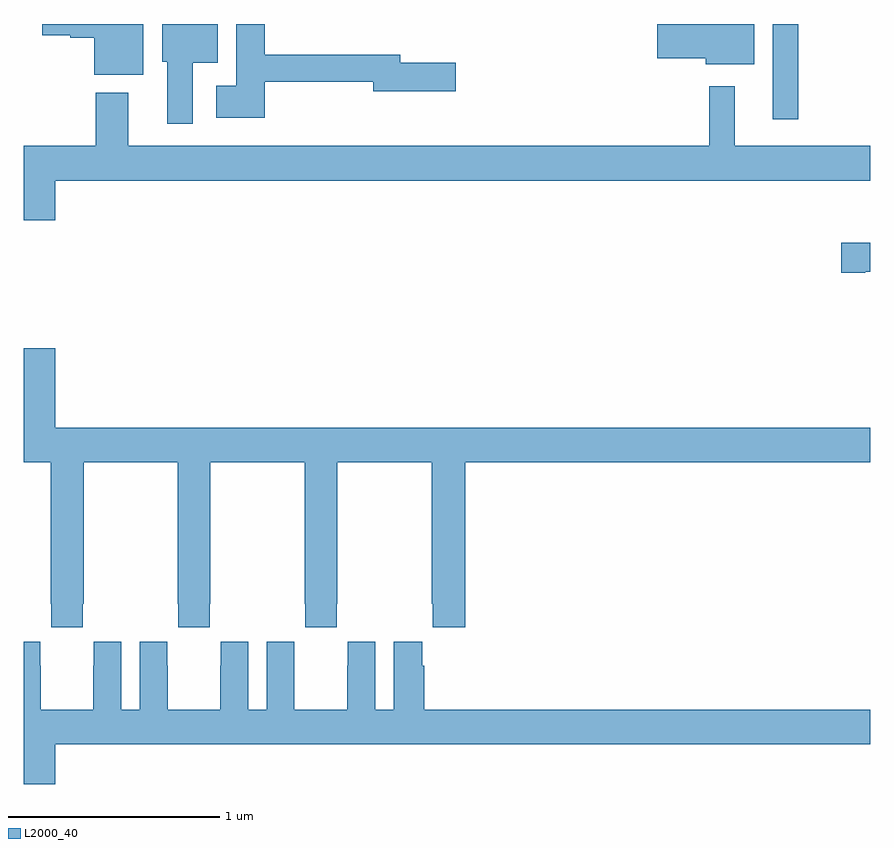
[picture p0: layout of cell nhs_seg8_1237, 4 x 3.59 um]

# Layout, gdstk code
import gdstk
lib = gdstk.Library(unit=1e-6, precision=1e-09)
def R(c, l, rs):  # rectangles x0, y0, x1, y1
    for r in rs: c.add(gdstk.rectangle(r[:2], r[2:], *l))
def P(c, l, *ps):  # polygons
    for p in ps: c.add(gdstk.Polygon(p, *l))
L2000_40 = (2000, 40)

nhs_seg8_1237 = lib.new_cell('nhs_seg8_1237')
R(nhs_seg8_1237, L2000_40, [(192.539,1123.449,192.661,1123.9)])
P(nhs_seg8_1237, L2000_40, [(192.451,1123.9),(191.994,1123.9),(191.994,1123.738),(192.224,1123.738),(192.224,1123.709),(192.451,1123.709)],
  [(190.139,1123.626),(190.652,1123.626),(190.652,1123.583),(191.041,1123.583),(191.041,1123.718),(190.78,1123.718),(190.78,1123.754),(190.139,1123.754),(190.139,1123.9),(190.004,1123.9),(190.004,1123.609),(189.909,1123.609),(189.909,1123.457),(190.139,1123.457)],
  [(189.799,1123.718),(189.916,1123.718),(189.916,1123.9),(189.653,1123.9),(189.653,1123.722),(189.677,1123.722),(189.677,1123.428),(189.799,1123.428)],
  [(189.565,1123.9),(189.086,1123.9),(189.086,1123.847),(189.219,1123.847),(189.219,1123.835),(189.332,1123.835),(189.332,1123.661),(189.565,1123.661)],
  [(189.148,1123.16),(193,1123.16),(193,1123.324),(192.361,1123.324),(192.361,1123.606),(192.24,1123.606),(192.24,1123.324),(189.493,1123.324),(189.493,1123.576),(189.341,1123.576),(189.341,1123.324),(189,1123.324),(189,1122.972),(189.148,1122.972)],
  [(192.976,1122.73),(193,1122.73),(193,1122.867),(192.864,1122.867),(192.864,1122.725),(192.976,1122.725)],
  [(189.279,1121.161),(189.282,1121.161),(189.282,1121.828),(189.727,1121.828),(189.727,1121.161),(189.729,1121.161),(189.729,1121.049),(189.879,1121.049),(189.879,1121.161),(189.882,1121.161),(189.882,1121.828),(190.327,1121.828),(190.327,1121.161),(190.329,1121.161),(190.329,1121.049),(190.479,1121.049),(190.479,1121.161),(190.482,1121.161),(190.482,1121.828),(190.927,1121.828),(190.927,1121.161),(190.933,1121.161),(190.933,1121.049),(191.087,1121.049),(191.087,1121.828),(193,1121.828),(193,1121.992),(189.148,1121.992),(189.148,1122.367),(189,1122.367),(189,1121.828),(189.127,1121.828),(189.127,1121.161),(189.129,1121.161),(189.129,1121.049),(189.279,1121.049)],
  [(193,1120.66),(190.892,1120.66),(190.892,1120.868),(190.882,1120.868),(190.882,1120.981),(190.748,1120.981),(190.748,1120.66),(190.66,1120.66),(190.66,1120.981),(190.53,1120.981),(190.53,1120.868),(190.529,1120.868),(190.529,1120.66),(190.279,1120.66),(190.279,1120.868),(190.278,1120.868),(190.278,1120.981),(190.148,1120.981),(190.148,1120.66),(190.06,1120.66),(190.06,1120.981),(189.93,1120.981),(189.93,1120.868),(189.929,1120.868),(189.929,1120.66),(189.679,1120.66),(189.679,1120.868),(189.678,1120.868),(189.678,1120.981),(189.548,1120.981),(189.548,1120.66),(189.46,1120.66),(189.46,1120.981),(189.33,1120.981),(189.33,1120.868),(189.329,1120.868),(189.329,1120.66),(189.079,1120.66),(189.079,1120.868),(189.078,1120.868),(189.078,1120.981),(189,1120.981),(189,1120.308),(189.148,1120.308),(189.148,1120.496),(193,1120.496)])

lib.write_gds('nhs_seg8_1237.gds')
